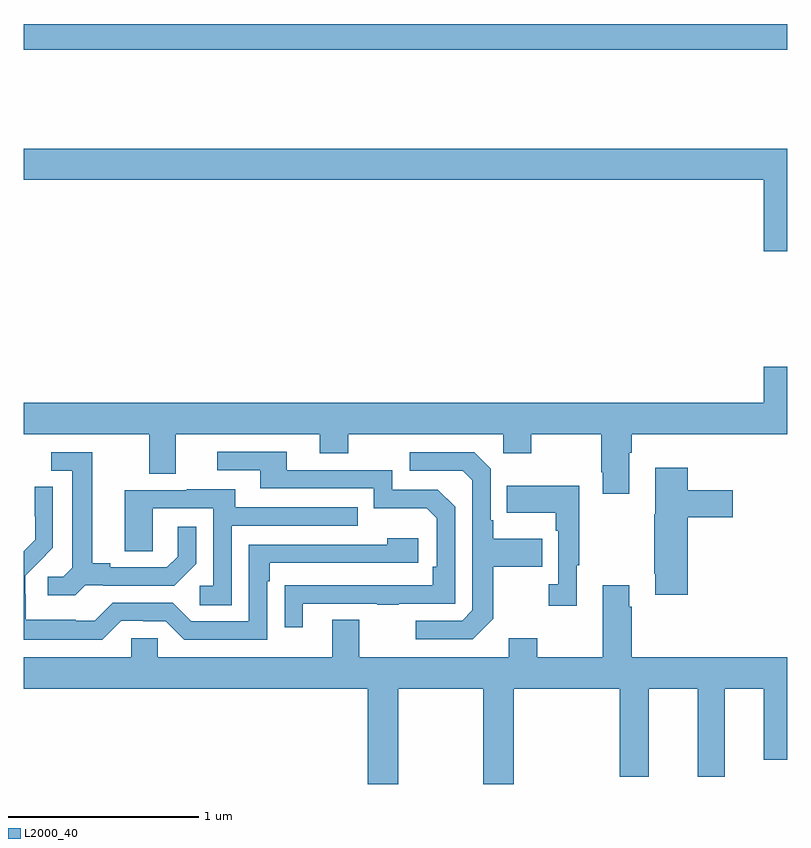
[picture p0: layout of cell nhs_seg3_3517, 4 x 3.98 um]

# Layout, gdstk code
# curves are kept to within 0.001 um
import gdstk
lib = gdstk.Library(unit=1e-6, precision=1e-09)
def R(c, l, rs):  # rectangles x0, y0, x1, y1
    for r in rs: c.add(gdstk.rectangle(r[:2], r[2:], *l))
def P(c, l, *ps):  # polygons
    for p in ps: c.add(gdstk.Polygon(p, *l))
L2000_40 = (2000, 40)

nhs_seg3_3517 = lib.new_cell('nhs_seg3_3517')
R(nhs_seg3_3517, L2000_40, [(293,720.244,297,720.38)])
P(nhs_seg3_3517, L2000_40, [(297,719.728),(293,719.728),(293,719.564),(296.876,719.564),(296.876,719.19),(297,719.19)],
  [(296.173,718.136),(296.186,718.136),(296.186,718.232),(297,718.232),(297,718.585),(296.876,718.585),(296.876,718.396),(293,718.396),(293,718.232),(293.657,718.232),(293.657,718.024),(293.797,718.024),(293.797,718.232),(294.551,718.232),(294.551,718.133),(294.699,718.133),(294.699,718.232),(295.512,718.232),(295.512,718.133),(295.659,718.133),(295.659,718.232),(296.026,718.232),(296.026,718.033),(296.033,718.033),(296.033,717.921),(296.173,717.921)],
  [(294.463,717.345),(294.853,717.345),(294.853,717.34),(294.965,717.34),(294.965,717.345),(295.26,717.345),(295.26,717.852),(295.17,717.942),(294.93,717.942),(294.93,718.044),(294.379,718.044),(294.379,718.14),(294.015,718.14),(294.015,718.044),(294.239,718.044),(294.239,717.948),(294.834,717.948),(294.834,717.845),(295.111,717.845),(295.164,717.792),(295.164,717.538),(295.144,717.538),(295.144,717.441),(294.367,717.44),(294.367,717.222),(294.463,717.222)],
  [(293.322,717.441),(293.416,717.441),(293.416,717.438),(293.788,717.438),(293.904,717.554),(293.904,717.748),(293.807,717.748),(293.807,717.591),(293.75,717.534),(293.455,717.534),(293.455,717.557),(293.359,717.557),(293.359,718.137),(293.145,718.137),(293.145,718.041),(293.255,718.041),(293.255,717.533),(293.208,717.486),(293.127,717.486),(293.127,717.389),(293.27,717.389)],
  [(295.459,717.265),(295.459,717.538),(295.715,717.538),(295.715,717.685),(295.459,717.685),(295.459,717.781),(295.446,717.781),(295.446,718.05),(295.359,718.137),(295.023,718.137),(295.023,718.041),(295.299,718.041),(295.35,717.99),(295.35,717.309),(295.296,717.255),(295.053,717.255),(295.053,717.159),(295.353,717.159)],
  [(296.477,717.797),(296.713,717.797),(296.713,717.939),(296.477,717.939),(296.477,718.057),(296.309,718.057),(296.309,717.813),(296.302,717.813),(296.302,717.502),(296.309,717.502),(296.309,717.39),(296.477,717.39)],
  [(295.897,717.545),(295.909,717.545),(295.909,717.961),(295.531,717.961),(295.531,717.821),(295.788,717.821),(295.788,717.725),(295.8,717.725),(295.8,717.446),(295.749,717.446),(295.749,717.333),(295.897,717.333)],
  [(293.511,717.255),(293.627,717.255),(293.627,717.252),(293.745,717.252),(293.841,717.156),(294.276,717.156),(294.276,717.461),(294.289,717.461),(294.289,717.558),(295.066,717.558),(295.066,717.688),(294.905,717.688),(294.905,717.654),(294.18,717.654),(294.18,717.252),(293.877,717.252),(293.781,717.348),(293.466,717.348),(293.373,717.255),(293.273,717.255),(293.273,717.259),(293.01,717.259),(293.01,717.393),(293.008,717.393),(293.008,717.49),(293.154,717.638),(293.154,717.956),(293.058,717.956),(293.058,717.802),(293.06,717.802),(293.06,717.68),(293,717.62),(293,717.155),(293.411,717.155)],
  [(294.09,717.753),(294.749,717.753),(294.749,717.849),(294.109,717.849),(294.109,717.943),(293.855,717.943),(293.855,717.939),(293.531,717.939),(293.531,717.619),(293.676,717.619),(293.676,717.843),(293.994,717.843),(293.994,717.438),(293.922,717.438),(293.922,717.337),(294.09,717.337)],
  [(296.033,717.064),(295.689,717.064),(295.689,717.163),(295.541,717.163),(295.541,717.064),(294.757,717.064),(294.757,717.259),(294.617,717.259),(294.617,717.064),(293.703,717.064),(293.703,717.162),(293.565,717.162),(293.565,717.064),(293,717.064),(293,716.9),(294.803,716.9),(294.803,716.4),(294.963,716.4),(294.963,716.9),(295.408,716.9),(295.408,716.4),(295.568,716.4),(295.568,716.9),(296.123,716.9),(296.123,716.439),(296.275,716.439),(296.275,716.9),(296.531,716.9),(296.531,716.439),(296.671,716.439),(296.671,716.9),(296.876,716.9),(296.876,716.526),(297,716.526),(297,717.064),(296.186,717.064),(296.186,717.329),(296.173,717.329),(296.173,717.442),(296.033,717.442)])

lib.write_gds('nhs_seg3_3517.gds')
